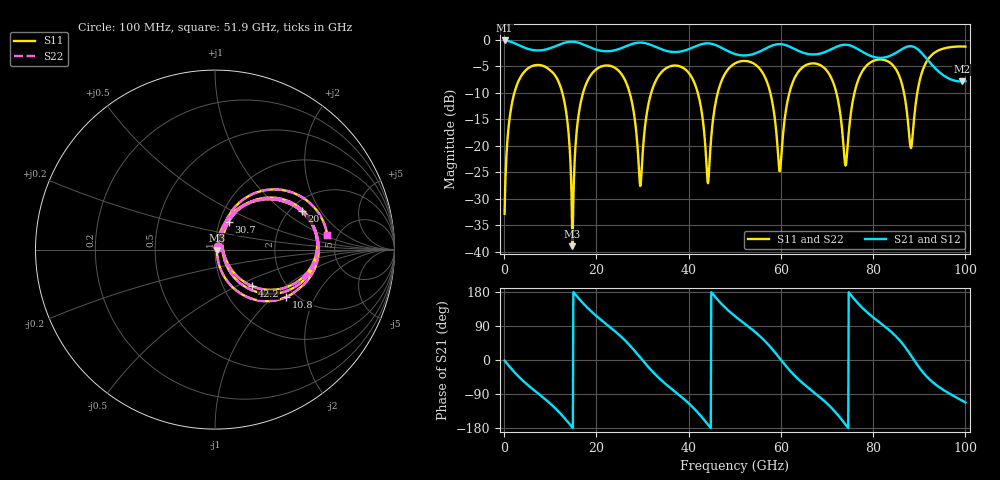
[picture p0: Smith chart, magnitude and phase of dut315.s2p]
! Touchstone file exported from HFSS 2026.1.0
!  File:  C:/ffzhzh/LocalFiles/Ansys_Project_Files/temp_train_TSV_RDL_315_1783700365_45164.aedt
!  Generated:  12:33:25 AM Jul 11, 2026
!  Design:  TSV_RDL
!  Project:  temp_train_TSV_RDL_315_1783700365_45164
! Variables:
!  h_bsmrdl = 3.88um
!  h_ox = 20um
!  h_rdl = 5um
!  h_sub = 96.79um
!  h_tmrdl = 4.75um
!  h_tsv = 96.79um
!  h_via = 3um
!  l_bsmrdl = 425.49um
!  l_sub = 3921um
!  l_tmrdl = 529.28um
!  m_sub = 200um
!  pitch = 55.79um
!  r_tsv = 5.96um
!  s_tmrdl = 10um
!  w_bsmrdl = 21.7um
!  w_sub = 500um
!  w_tmrdl = 20.77um
!  x_tsv_center1 = 539.665um
!  x_tsv_center2 = 986.855um
!  x_tsv_center3 = 1536.905um
!  x_tsv_center4 = 1984.095um
!  x_tsv_center5 = 2534.145um
!  x_tsv_center6 = 2981.335um
# GHz S MA R 50.000000
! Terminal data exported
! Port[1] = TM_RDL1_1_T1
! Port[2] = TM_RDL5_1_T1
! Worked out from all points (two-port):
!   1000 points, 100 MHz to 100 GHz, reference 50 ohm
!   highest |S21| = -0.14 dB at 100 MHz (marker M1); lowest = -7.9 dB at 99.2 GHz (marker M2)
!   |S21| within 3 dB of the highest: start of sweep to 79.72 GHz; 83.34 GHz to 91.17 GHz (7.827 GHz wide, 8.97 % of centre)
!   lowest |S11| = -38.9 dB at 14.8 GHz (marker M3), VSWR 1.02, Z = 51.1 - j0.293 ohm
!   |S11| at or under -10 dB: 12.62 GHz to 17.12 GHz (4.5 GHz wide, 30.3 % of centre); 27.21 GHz to 31.89 GHz (4.673 GHz wide, 15.8 % of centre); 41.98 GHz to 46.31 GHz (4.335 GHz wide, 9.82 % of centre) (the widest 3 of 7)
!   |S22| runs from -38.5 to -1.3 dB; largest |S21 - S12| = 2.1e-13
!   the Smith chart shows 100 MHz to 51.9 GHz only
!   S11 on the Smith chart (normalised r, x): 100 MHz: 1.03, +0.03; 10.8 GHz: 1.77, -1.22; 20 GHz: 2.30, +1.37; 30.7 GHz: 1.11, +0.35; 42.2 GHz: 1.37, -0.61; 51.9 GHz: 4.09, +1.11
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0.1  0.02291 45.0  0.9841 -1.6  0.9841 -1.6  0.02291 45.0
! Gamma 0 0 0 0
! Port Impedance 50 0 50 0
3  0.3972 44.8  0.8956 -42.0  0.8956 -42.0  0.3972 44.8
10.8  0.4757 -33.9  0.8579 -124.1  0.8579 -124.1  0.4758 -33.9
14.8  0.01135 -14.6  0.958 -177.9  0.958 -177.9  0.01184 -14.4
16.8  0.28 58.9  0.9147 153.8  0.9147 153.8  0.2801 58.8
20  0.5278 23.9  0.8055 116.1  0.8055 116.1  0.5278 23.9
26.4  0.3991 -38.2  0.8666 49.4  0.8666 49.4  0.3992 -38.3
29.5  0.0418 -0.3  0.9402 6.8  0.9402 6.8  0.04167 -0.3
30.7  0.1732 63.8  0.926 -10.6  0.926 -10.6  0.1732 63.7
33.4  0.4508 39.6  0.8349 -45.7  0.8349 -45.7  0.4508 39.5
42.2  0.29 -44.5  0.8907 -141.5  0.8907 -141.5  0.2899 -44.8
44.2  0.04449 12.1  0.9248 -170.5  0.9248 -170.5  0.04302 12.0
50.1  0.6004 23.2  0.7327 115.1  0.7327 115.1  0.6003 23.2
51.9  0.6307 7.5  0.7106 98.0  0.7106 98.0  0.6306 7.4
59.8  0.05772 10.6  0.9098 3.6  0.9098 3.6  0.05613 10.9
66.7  0.598 8.4  0.7266 -80.8  0.7266 -80.8  0.598 8.5
74.4  0.09162 47.7  0.8944 -176.4  0.8944 -176.4  0.09214 47.3
77.3  0.4724 45.8  0.7866 142.0  0.7866 142.0  0.4724 45.7
83.4  0.6182 -8.3  0.6981 79.7  0.6981 79.7  0.6181 -8.4
88.7  0.1485 51.4  0.8606 2.9  0.8606 2.9  0.1474 51.9
99.2  0.8631 -16.8  0.4041 -106.6  0.4041 -106.6  0.863 -16.8
100  0.861 -21.6  0.4064 -112.0  0.4064 -112.0  0.861 -21.7
